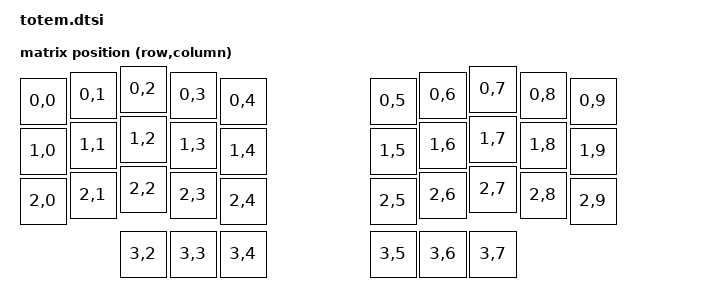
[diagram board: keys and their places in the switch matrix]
/*
 * Copyright (c) 2022 The ZMK Contributors
 *
 * SPDX-License-Identifier: MIT
 */

#include <dt-bindings/zmk/matrix_transform.h>
#include <physical_layouts.dtsi>

/ {
    chosen {
        zmk,kscan = &kscan0;
        /* No zmk,matrix_transform here: a zmk,physical-layout is defined below
         * and ZMK takes the transform from it. The layout is also what lets ZMK
         * Studio draw the keyboard on the central (the LEFT half). */
    };

    default_transform: keymap_transform_0 {
        compatible = "zmk,matrix-transform";
        columns = <10>;
        rows = <4>;
// TottemRodrV3: 36 keys (5x3 + 3 thumbs per half, no outer pinky keys).
// Stock Totem pin map; thumbs on the inner 3 columns (2,3,4 | 5,6,7).
        map = <
                RC(0,0) RC(0,1) RC(0,2) RC(0,3) RC(0,4)    RC(0,5) RC(0,6) RC(0,7) RC(0,8) RC(0,9)
                RC(1,0) RC(1,1) RC(1,2) RC(1,3) RC(1,4)    RC(1,5) RC(1,6) RC(1,7) RC(1,8) RC(1,9)
                RC(2,0) RC(2,1) RC(2,2) RC(2,3) RC(2,4)    RC(2,5) RC(2,6) RC(2,7) RC(2,8) RC(2,9)
                        RC(3,2) RC(3,3) RC(3,4)            RC(3,5) RC(3,6) RC(3,7)
        >;
    };


    kscan0: kscan_0 {
        compatible = "zmk,kscan-gpio-matrix";
        label = "KSCAN";
        
        diode-direction = "col2row";
        /* row-gpios are defined per-half in the overlays: the left XIAO is
         * mounted flipped (180deg about the short axis) to dodge the D9->GND_L
         * PCB short, so its rows differ from the stock right half. */
    };

    /* 36 keys, ordered to match default_transform exactly: row-major (left block
     * then right block per row), then the 3 left thumbs, then the 3 right thumbs.
     * Coordinates are in 1/100 key units (100 = 1u); the mild column stagger is
     * purely cosmetic, for how ZMK Studio renders the board. */
    totem_physical_layout: totem_physical_layout {
        compatible = "zmk,physical-layout";
        display-name = "TOTEM";
        transform = <&default_transform>;

        keys  //                       w    h    x    y   rot  rx  ry
            = <&key_physical_attrs 100 100    0   24     0   0   0>
            , <&key_physical_attrs 100 100  100   12     0   0   0>
            , <&key_physical_attrs 100 100  200    0     0   0   0>
            , <&key_physical_attrs 100 100  300   12     0   0   0>
            , <&key_physical_attrs 100 100  400   24     0   0   0>
            , <&key_physical_attrs 100 100  700   24     0   0   0>
            , <&key_physical_attrs 100 100  800   12     0   0   0>
            , <&key_physical_attrs 100 100  900    0     0   0   0>
            , <&key_physical_attrs 100 100 1000   12     0   0   0>
            , <&key_physical_attrs 100 100 1100   24     0   0   0>
            , <&key_physical_attrs 100 100    0  124     0   0   0>
            , <&key_physical_attrs 100 100  100  112     0   0   0>
            , <&key_physical_attrs 100 100  200  100     0   0   0>
            , <&key_physical_attrs 100 100  300  112     0   0   0>
            , <&key_physical_attrs 100 100  400  124     0   0   0>
            , <&key_physical_attrs 100 100  700  124     0   0   0>
            , <&key_physical_attrs 100 100  800  112     0   0   0>
            , <&key_physical_attrs 100 100  900  100     0   0   0>
            , <&key_physical_attrs 100 100 1000  112     0   0   0>
            , <&key_physical_attrs 100 100 1100  124     0   0   0>
            , <&key_physical_attrs 100 100    0  224     0   0   0>
            , <&key_physical_attrs 100 100  100  212     0   0   0>
            , <&key_physical_attrs 100 100  200  200     0   0   0>
            , <&key_physical_attrs 100 100  300  212     0   0   0>
            , <&key_physical_attrs 100 100  400  224     0   0   0>
            , <&key_physical_attrs 100 100  700  224     0   0   0>
            , <&key_physical_attrs 100 100  800  212     0   0   0>
            , <&key_physical_attrs 100 100  900  200     0   0   0>
            , <&key_physical_attrs 100 100 1000  212     0   0   0>
            , <&key_physical_attrs 100 100 1100  224     0   0   0>
            , <&key_physical_attrs 100 100  200  330     0   0   0>
            , <&key_physical_attrs 100 100  300  330     0   0   0>
            , <&key_physical_attrs 100 100  400  330     0   0   0>
            , <&key_physical_attrs 100 100  700  330     0   0   0>
            , <&key_physical_attrs 100 100  800  330     0   0   0>
            , <&key_physical_attrs 100 100  900  330     0   0   0>
            ;
    };
};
